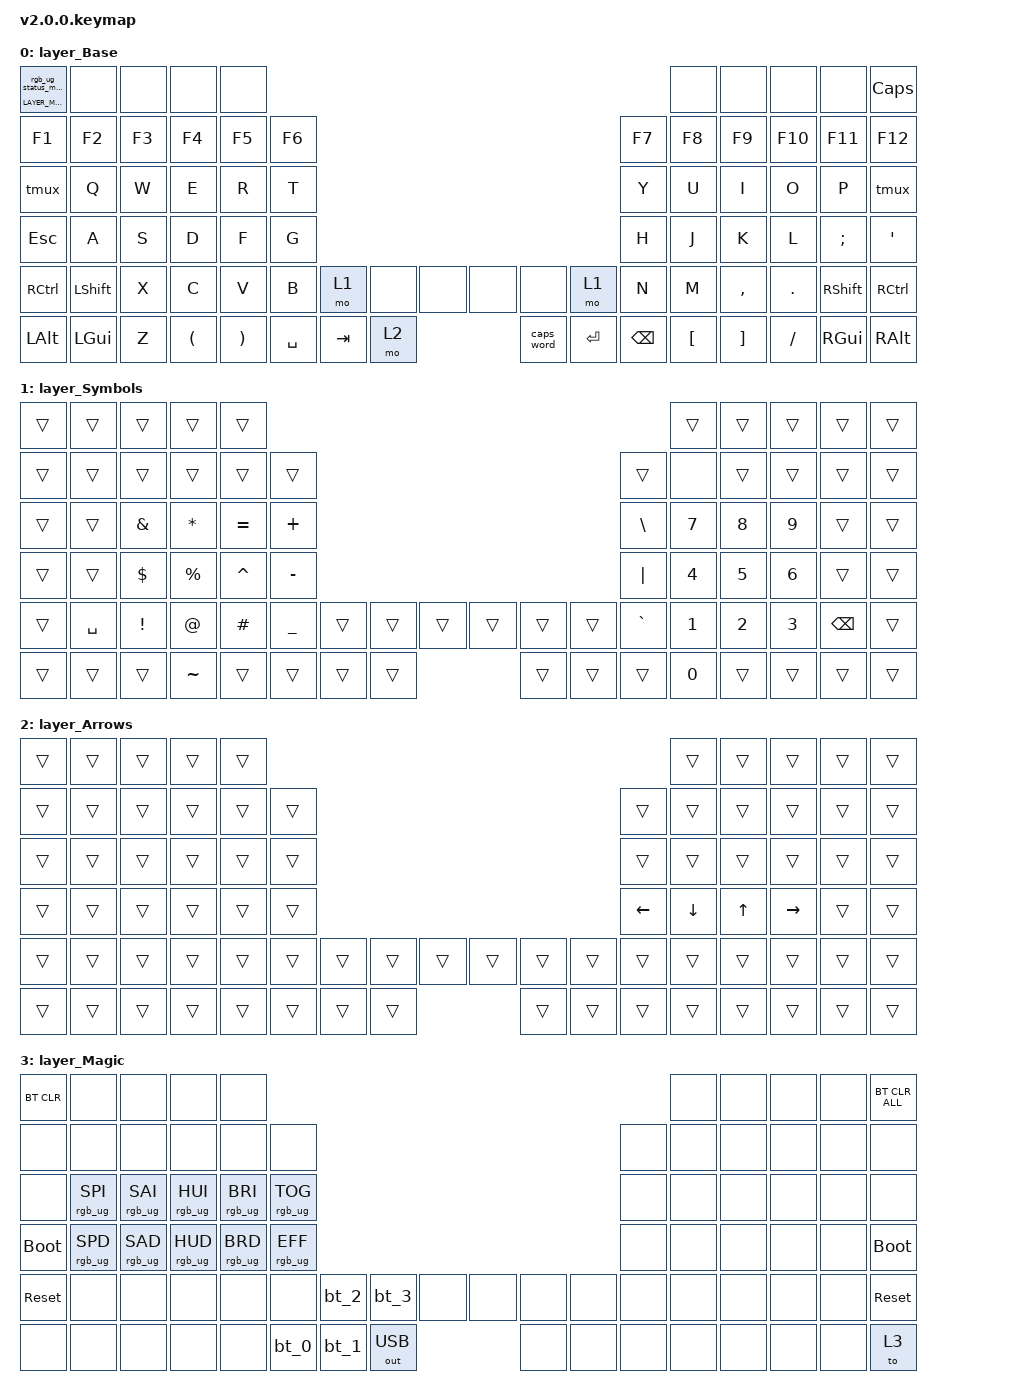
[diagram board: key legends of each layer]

/*
 * Copyright (c) 2020 The ZMK Contributors
 * Copyright (c) 2023 Innaworks Development Limited, trading as MoErgo
 *
 * SPDX-License-Identifier: MIT
 */


/* THIS FILE WAS GENERATED BY GLOVE80 LAYOUT EDITOR
 *
 * This file was generated automatically. You may or may not want to
 * edit it directly.
 */

#include <behaviors.dtsi>
/* Include all behavior includes needed */
#include <dt-bindings/zmk/outputs.h>
#include <dt-bindings/zmk/keys.h>
#include <dt-bindings/zmk/bt.h>
#include <dt-bindings/zmk/rgb.h>

/* Automatically generated layer name #define */
#define LAYER_Base 0
#define LAYER_Symbols 1
#define LAYER_Arrows 2
#define LAYER_Magic 3

/* To deal with the situation where there is no Lower layer, to keep &lower happy */
#ifndef LAYER_Lower
#define LAYER_Lower 0
#endif

/* Custom Device-tree */



/* Glove80 system behavior & macros */
/ {
    behaviors {
        // For the "layer" key, it'd nice to be able to use it as either a shift or a toggle.
        // Configure it as a tap dance, so the first tap (or hold) is a &mo and the second tap is a &to
        lower: lower {
            compatible = "zmk,behavior-tap-dance";
            label = "LAYER_TAP_DANCE";
            #binding-cells = <0>;
            tapping-term-ms = <200>;
            bindings = <&mo LAYER_Lower>, <&to LAYER_Lower>;
        };
    };
};

/ {
    macros {
        rgb_ug_status_macro: rgb_ug_status_macro {
            label = "RGB_UG_STATUS";
            compatible = "zmk,behavior-macro";
            #binding-cells = <0>;
            bindings
                = <&rgb_ug RGB_STATUS>;
        };
    };
};


/ {
#ifdef BT_DISC_CMD
    behaviors {
        bt_0: bt_0 {
            compatible = "zmk,behavior-tap-dance";
            label = "BT_0";
            #binding-cells = <0>;
            tapping-term-ms = <200>;
            bindings = <&bt_select_0>, <&bt BT_DISC 0>;
        };
        bt_1: bt_1 {
            compatible = "zmk,behavior-tap-dance";
            label = "BT_1";
            #binding-cells = <0>;
            tapping-term-ms = <200>;
            bindings = <&bt_select_1>, <&bt BT_DISC 1>;
        };
        bt_2: bt_2 {
            compatible = "zmk,behavior-tap-dance";
            label = "BT_2";
            #binding-cells = <0>;
            tapping-term-ms = <200>;
            bindings = <&bt_select_2>, <&bt BT_DISC 2>;
        };
        bt_3: bt_3 {
            compatible = "zmk,behavior-tap-dance";
            label = "BT_3";
            #binding-cells = <0>;
            tapping-term-ms = <200>;
            bindings = <&bt_select_3>, <&bt BT_DISC 3>;
        };
    };
    macros {
        bt_select_0: bt_select_0 {
            label = "BT_SELECT_0";
            compatible = "zmk,behavior-macro";
            #binding-cells = <0>;
            bindings
                = <&out OUT_BLE>,
                  <&bt BT_SEL 0>;
        };
        bt_select_1: bt_select_1 {
            label = "BT_SELECT_1";
            compatible = "zmk,behavior-macro";
            #binding-cells = <0>;
            bindings
                = <&out OUT_BLE>,
                  <&bt BT_SEL 1>;
        };
        bt_select_2: bt_select_2 {
            label = "BT_SELECT_2";
            compatible = "zmk,behavior-macro";
            #binding-cells = <0>;
            bindings
                = <&out OUT_BLE>,
                  <&bt BT_SEL 2>;
        };
        bt_select_3: bt_select_3 {
            label = "BT_SELECT_3";
            compatible = "zmk,behavior-macro";
            #binding-cells = <0>;
            bindings
                = <&out OUT_BLE>,
                  <&bt BT_SEL 3>;
        };
    };
#else
    macros {
        bt_0: bt_0 {
            label = "BT_0";
            compatible = "zmk,behavior-macro";
            #binding-cells = <0>;
            bindings
                = <&out OUT_BLE>,
                  <&bt BT_SEL 0>;
        };
        bt_1: bt_1 {
            label = "BT_1";
            compatible = "zmk,behavior-macro";
            #binding-cells = <0>;
            bindings
                = <&out OUT_BLE>,
                  <&bt BT_SEL 1>;
        };
        bt_2: bt_2 {
            label = "BT_2";
            compatible = "zmk,behavior-macro";
            #binding-cells = <0>;
            bindings
                = <&out OUT_BLE>,
                  <&bt BT_SEL 2>;
        };
        bt_3: bt_3 {
            label = "BT_3";
            compatible = "zmk,behavior-macro";
            #binding-cells = <0>;
            bindings
                = <&out OUT_BLE>,
                  <&bt BT_SEL 3>;
        };
    };
#endif
};

/ {
    behaviors {
        magic: magic {
            compatible = "zmk,behavior-hold-tap";
            label = "MAGIC_HOLD_TAP";
            #binding-cells = <2>;
            flavor = "tap-preferred";
            tapping-term-ms = <200>;
            bindings = <&mo>, <&rgb_ug_status_macro>;
        };
    };
};

/* #define for key positions */
#define POS_LH_T1 52
#define POS_LH_T2 53
#define POS_LH_T3 54
#define POS_LH_T4 69
#define POS_LH_T5 70
#define POS_LH_T6 71
#define POS_LH_C1R2 15
#define POS_LH_C1R3 27
#define POS_LH_C1R4 39
#define POS_LH_C1R5 51
#define POS_LH_C2R1 4
#define POS_LH_C2R2 14
#define POS_LH_C2R3 26
#define POS_LH_C2R4 38
#define POS_LH_C2R5 50
#define POS_LH_C2R6 68
#define POS_LH_C3R1 3
#define POS_LH_C3R2 13
#define POS_LH_C3R3 25
#define POS_LH_C3R4 37
#define POS_LH_C3R5 49
#define POS_LH_C3R6 67
#define POS_LH_C4R1 2
#define POS_LH_C4R2 12
#define POS_LH_C4R3 24
#define POS_LH_C4R4 36
#define POS_LH_C4R5 48
#define POS_LH_C4R6 66
#define POS_LH_C5R1 1
#define POS_LH_C5R2 11
#define POS_LH_C5R3 23
#define POS_LH_C5R4 35
#define POS_LH_C5R5 47
#define POS_LH_C5R6 65
#define POS_LH_C6R1 0
#define POS_LH_C6R2 10
#define POS_LH_C6R3 22
#define POS_LH_C6R4 34
#define POS_LH_C6R5 46
#define POS_LH_C6R6 64
#define POS_RH_T1 57
#define POS_RH_T2 56
#define POS_RH_T3 55
#define POS_RH_T4 74
#define POS_RH_T5 73
#define POS_RH_T6 72
#define POS_RH_C1R2 16
#define POS_RH_C1R3 28
#define POS_RH_C1R4 40
#define POS_RH_C1R5 58
#define POS_RH_C2R1 5
#define POS_RH_C2R2 17
#define POS_RH_C2R3 29
#define POS_RH_C2R4 41
#define POS_RH_C2R5 59
#define POS_RH_C2R6 75
#define POS_RH_C3R1 6
#define POS_RH_C3R2 18
#define POS_RH_C3R3 30
#define POS_RH_C3R4 42
#define POS_RH_C3R5 60
#define POS_RH_C3R6 76
#define POS_RH_C4R1 7
#define POS_RH_C4R2 19
#define POS_RH_C4R3 31
#define POS_RH_C4R4 43
#define POS_RH_C4R5 61
#define POS_RH_C4R6 77
#define POS_RH_C5R1 8
#define POS_RH_C5R2 20
#define POS_RH_C5R3 32
#define POS_RH_C5R4 44
#define POS_RH_C5R5 62
#define POS_RH_C5R6 78
#define POS_RH_C6R1 9
#define POS_RH_C6R2 21
#define POS_RH_C6R3 33
#define POS_RH_C6R4 45
#define POS_RH_C6R5 63
#define POS_RH_C6R6 79

/* Custom Defined Behaviors */
/ {
macros {
    tmux: tmux {
      label = "tmux";
      compatible = "zmk,behavior-macro";
      #binding-cells = <0>;
      wait-ms = <10>;
      tap-ms = <10>;
      bindings = <&macro_press &kp LCTRL>,<&macro_tap &kp B>,<&macro_release &kp LCTRL>;
    };
  };
};

/* Automatically generated macro definitions */
/ {
    macros {
    
    };
};

/* Automatically generated combos definitions */
/ {
    combos {
            compatible = "zmk,combos";
    };
};

/* Automatically generated keymap */
/ {
    keymap {
        compatible = "zmk,keymap";


        layer_Base {
            bindings = <
 &magic LAYER_Magic 0      &none   &none     &none     &none                                                                                &none      &none     &none      &none   &kp CAPS
               &kp F1     &kp F2  &kp F3    &kp F4    &kp F5  &kp F6                                                             &kp F7    &kp F8     &kp F9   &kp F10    &kp F11    &kp F12
                &tmux      &kp Q   &kp W     &kp E     &kp R   &kp T                                                              &kp Y     &kp U      &kp I     &kp O      &kp P      &tmux
              &kp ESC      &kp A   &kp S     &kp D     &kp F   &kp G                                                              &kp H     &kp J      &kp K     &kp L   &kp SEMI    &kp SQT
            &kp RCTRL  &kp LSHFT   &kp X     &kp C     &kp V   &kp B      &mo 1    &none   &none       &none    &none     &mo 1   &kp N     &kp M  &kp COMMA   &kp DOT  &kp RSHFT  &kp RCTRL
             &kp LALT   &kp LGUI   &kp Z  &kp LPAR  &kp RPAR          &kp SPACE  &kp TAB   &mo 2  &caps_word  &kp RET  &kp BSPC          &kp LBKT   &kp RBKT  &kp FSLH   &kp RGUI   &kp RALT
            >;
        };

        layer_Symbols {
            bindings = <
 &trans     &trans    &trans     &trans     &trans                                                                        &trans  &trans  &trans    &trans  &trans
 &trans     &trans    &trans     &trans     &trans     &trans                                                     &trans   &none  &trans  &trans    &trans  &trans
 &trans     &trans  &kp AMPS   &kp STAR  &kp EQUAL   &kp PLUS                                                   &kp BSLH  &kp N7  &kp N8  &kp N9    &trans  &trans
 &trans     &trans  &kp DLLR  &kp PRCNT  &kp CARET  &kp MINUS                                                   &kp PIPE  &kp N4  &kp N5  &kp N6    &trans  &trans
 &trans  &kp SPACE  &kp EXCL     &kp AT   &kp HASH  &kp UNDER  &trans  &trans  &trans  &trans  &trans  &trans  &kp GRAVE  &kp N1  &kp N2  &kp N3  &kp BSPC  &trans
 &trans     &trans    &trans  &kp TILDE     &trans             &trans  &trans  &trans  &trans  &trans  &trans             &kp N0  &trans  &trans    &trans  &trans
            >;
        };

        layer_Arrows {
            bindings = <
 &trans  &trans  &trans  &trans  &trans                                                                      &trans  &trans     &trans  &trans  &trans
 &trans  &trans  &trans  &trans  &trans  &trans                                                    &trans    &trans  &trans     &trans  &trans  &trans
 &trans  &trans  &trans  &trans  &trans  &trans                                                    &trans    &trans  &trans     &trans  &trans  &trans
 &trans  &trans  &trans  &trans  &trans  &trans                                                  &kp LEFT  &kp DOWN  &kp UP  &kp RIGHT  &trans  &trans
 &trans  &trans  &trans  &trans  &trans  &trans  &trans  &trans  &trans  &trans  &trans  &trans    &trans    &trans  &trans     &trans  &trans  &trans
 &trans  &trans  &trans  &trans  &trans          &trans  &trans  &trans  &trans  &trans  &trans              &trans  &trans     &trans  &trans  &trans
            >;
        };

        layer_Magic {
            bindings = <
  &bt BT_CLR            &none            &none            &none            &none                                                                                  &none   &none   &none   &none  &bt BT_CLR_ALL
       &none            &none            &none            &none            &none            &none                                                         &none   &none   &none   &none   &none           &none
       &none  &rgb_ug RGB_SPI  &rgb_ug RGB_SAI  &rgb_ug RGB_HUI  &rgb_ug RGB_BRI  &rgb_ug RGB_TOG                                                         &none   &none   &none   &none   &none           &none
 &bootloader  &rgb_ug RGB_SPD  &rgb_ug RGB_SAD  &rgb_ug RGB_HUD  &rgb_ug RGB_BRD  &rgb_ug RGB_EFF                                                         &none   &none   &none   &none   &none     &bootloader
  &sys_reset            &none            &none            &none            &none            &none   &bt_2   &bt_3         &none   &none   &none   &none   &none   &none   &none   &none   &none      &sys_reset
       &none            &none            &none            &none            &none                    &bt_0   &bt_1  &out OUT_USB   &none   &none   &none           &none   &none   &none   &none           &to 3
            >;
        };

    };
};
